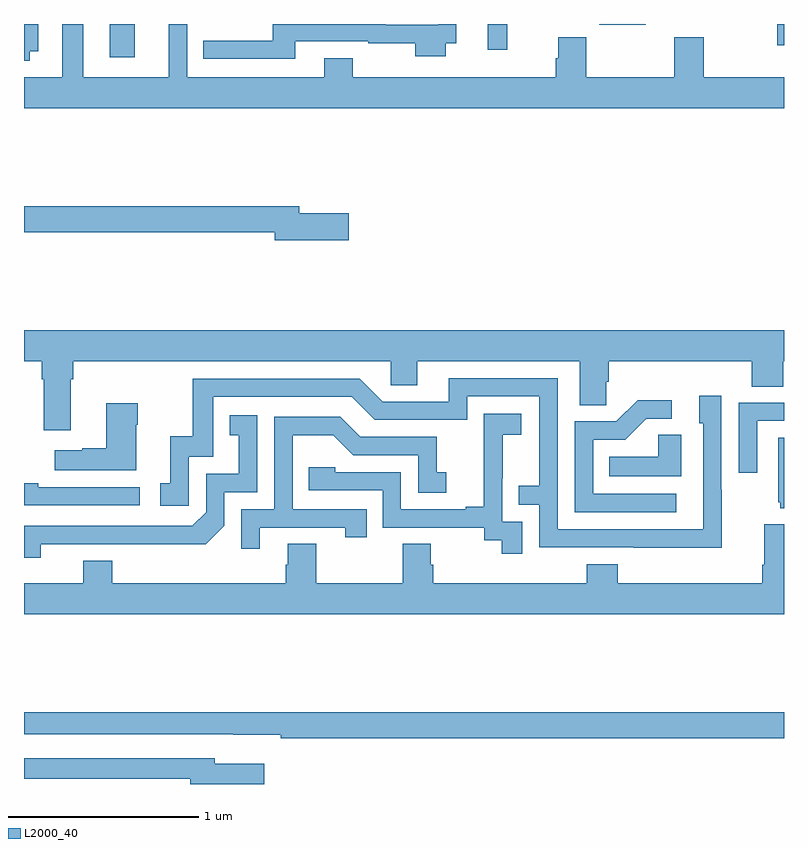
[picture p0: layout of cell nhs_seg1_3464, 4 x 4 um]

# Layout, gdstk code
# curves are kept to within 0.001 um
import gdstk
lib = gdstk.Library(unit=1e-6, precision=1e-09)
def R(c, l, rs):  # rectangles x0, y0, x1, y1
    for r in rs: c.add(gdstk.rectangle(r[:2], r[2:], *l))
def P(c, l, *ps):  # polygons
    for p in ps: c.add(gdstk.Polygon(p, *l))
L2000_40 = (2000, 40)

nhs_seg1_3464 = lib.new_cell('nhs_seg1_3464')
R(nhs_seg1_3464, L2000_40, [(299.45,528.024,299.584,528.199), (301.442,528.063,301.544,528.199), (302.964,528.086,303,528.199), (302.027,528.194,302.272,528.199)])
P(nhs_seg1_3464, L2000_40, [(300.427,528.108),(300.813,528.108),(300.813,528.098),(301.06,528.098),(301.06,528.029),(301.219,528.029),(301.219,528.099),(301.276,528.099),(301.276,528.199),(301.179,528.199),(301.179,528.195),(300.903,528.195),(300.903,528.199),(300.308,528.199),(300.308,528.111),(299.944,528.111),(299.944,528.015),(300.427,528.015)],
  [(303,527.92),(302.577,527.92),(302.577,528.128),(302.422,528.128),(302.422,527.92),(301.959,527.92),(301.959,528.128),(301.811,528.128),(301.811,528.018),(301.799,528.018),(301.799,527.92),(300.729,527.92),(300.729,528.019),(300.581,528.019),(300.581,527.92),(299.859,527.92),(299.859,528.199),(299.762,528.199),(299.762,527.92),(299.311,527.92),(299.311,528.199),(299.201,528.199),(299.201,527.92),(299,527.92),(299,527.756),(303,527.756)],
  [(299.029,528.056),(299.074,528.056),(299.074,528.199),(299,528.199),(299,528.005),(299.029,528.005)],
  [(300.709,527.204),(300.448,527.204),(300.448,527.24),(299,527.24),(299,527.104),(300.32,527.104),(300.32,527.062),(300.709,527.062)],
  [(299.245,526.328),(299.258,526.328),(299.258,526.424),(300.93,526.424),(300.93,526.297),(301.069,526.297),(301.069,526.424),(301.925,526.424),(301.925,526.192),(302.064,526.192),(302.064,526.315),(302.078,526.315),(302.078,526.424),(302.831,526.424),(302.831,526.291),(302.996,526.291),(302.996,526.424),(303,526.424),(303,526.588),(299,526.588),(299,526.424),(299.093,526.424),(299.093,526.328),(299.105,526.328),(299.105,526.062),(299.245,526.062)],
  [(302.673,525.749),(302.67,525.749),(302.67,526.243),(302.555,526.243),(302.555,526.098),(302.574,526.098),(302.574,525.54),(301.809,525.54),(301.809,526.335),(301.235,526.335),(301.235,526.212),(300.888,526.212),(300.768,526.332),(299.889,526.332),(299.889,526.03),(299.771,526.03),(299.771,525.783),(299.718,525.783),(299.718,525.663),(299.868,525.663),(299.868,525.921),(299.997,525.921),(299.997,526.236),(300.726,526.236),(300.846,526.116),(301.332,526.116),(301.332,526.239),(301.713,526.239),(301.713,525.77),(301.603,525.77),(301.603,525.669),(301.713,525.669),(301.713,525.444),(302.673,525.443)],
  [(302.434,525.726),(301.995,525.726),(301.995,526.011),(302.164,526.011),(302.275,526.122),(302.41,526.122),(302.41,526.22),(302.231,526.22),(302.118,526.107),(301.899,526.107),(301.899,525.63),(302.434,525.63)],
  [(302.859,526.11),(303,526.11),(303,526.206),(302.763,526.206),(302.763,525.837),(302.859,525.837)],
  [(299.59,526.091),(299.598,526.091),(299.598,526.204),(299.432,526.204),(299.432,525.965),(299.306,525.965),(299.306,525.955),(299.163,525.955),(299.163,525.851),(299.59,525.851)],
  [(301.623,525.579),(301.518,525.579),(301.518,525.809),(301.52,525.809),(301.52,526.037),(301.618,526.037),(301.618,526.147),(301.42,526.147),(301.42,525.941),(301.421,525.941),(301.421,525.658),(301.325,525.658),(301.325,525.645),(300.984,525.645),(300.984,525.84),(300.639,525.84),(300.639,525.867),(300.499,525.867),(300.499,525.744),(300.888,525.744),(300.888,525.549),(301.422,525.549),(301.422,525.481),(301.515,525.481),(301.515,525.411),(301.623,525.411)],
  [(299.088,525.462),(299.956,525.461),(300.054,525.558),(300.054,525.735),(300.228,525.735),(300.228,526.141),(300.082,526.141),(300.082,526.035),(300.131,526.035),(300.131,525.831),(299.958,525.831),(299.958,525.63),(299.886,525.558),(299,525.558),(299,525.389),(299.088,525.389)],
  [(300.241,525.549),(300.692,525.549),(300.692,525.498),(300.803,525.498),(300.803,525.645),(300.414,525.645),(300.414,526.034),(300.628,526.034),(300.732,525.93),(301.074,525.93),(301.074,525.732),(301.222,525.732),(301.222,525.841),(301.173,525.841),(301.173,526.026),(300.769,526.026),(300.664,526.131),(300.318,526.131),(300.318,525.645),(300.144,525.645),(300.144,525.438),(300.241,525.438)],
  [(302.458,526.037),(302.337,526.037),(302.337,525.922),(302.08,525.922),(302.08,525.818),(302.458,525.818)],
  [(303,526.021),(302.969,526.021),(302.969,525.681),(302.981,525.681),(302.981,525.65),(303,525.65)],
  [(299.608,525.762),(299.075,525.762),(299.075,525.782),(299,525.782),(299,525.666),(299.608,525.666)],
  [(303,525.565),(302.897,525.565),(302.897,525.352),(302.885,525.352),(302.885,525.256),(302.126,525.256),(302.126,525.355),(301.961,525.355),(301.961,525.256),(301.154,525.256),(301.154,525.354),(301.141,525.354),(301.141,525.464),(300.994,525.464),(300.994,525.256),(300.537,525.256),(300.537,525.464),(300.389,525.464),(300.389,525.354),(300.377,525.354),(300.377,525.256),(299.465,525.256),(299.465,525.373),(299.312,525.373),(299.312,525.256),(299,525.256),(299,525.092),(303,525.092)],
  [(303,524.576),(299,524.576),(299,524.46),(300.1,524.46),(300.1,524.459),(300.352,524.459),(300.352,524.44),(303,524.44)],
  [(300.265,524.305),(300.004,524.305),(300.004,524.334),(299,524.334),(299,524.226),(299.876,524.226),(299.876,524.199),(300.265,524.199)])

lib.write_gds('nhs_seg1_3464.gds')
